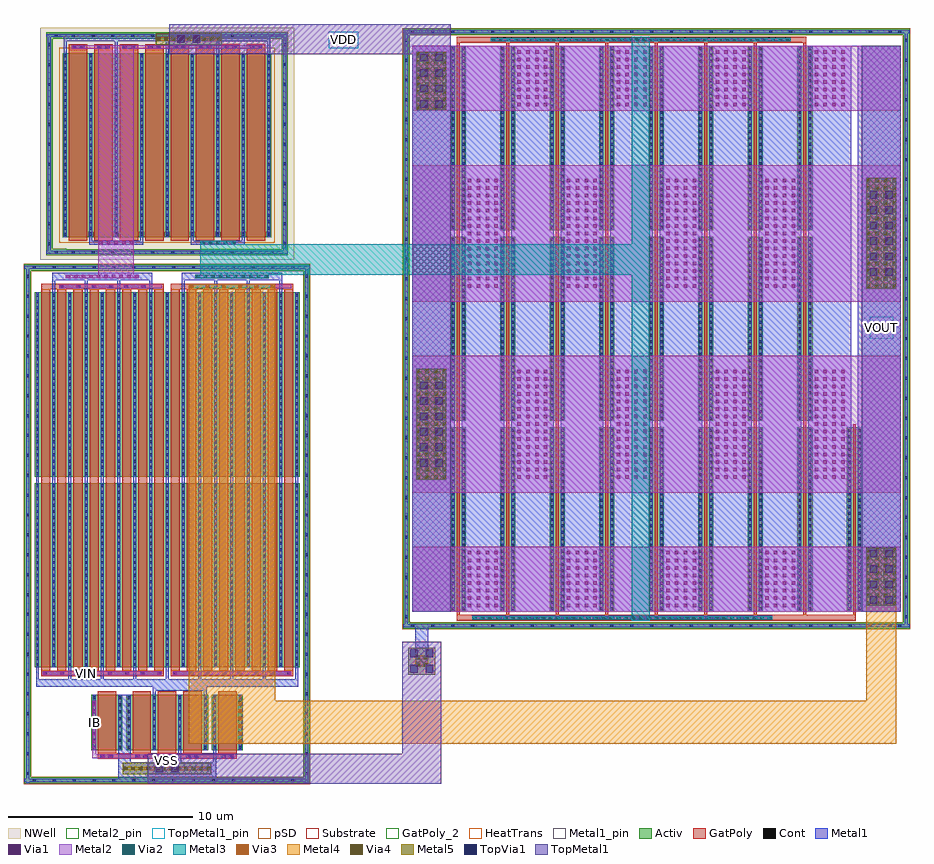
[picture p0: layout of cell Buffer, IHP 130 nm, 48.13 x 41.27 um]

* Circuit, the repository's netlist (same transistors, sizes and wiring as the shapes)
* Extracted by KLayout with SG13G2 LVS runset on : 23/03/2026 13:43

.SUBCKT Buffer VSS IB VIN VDD VOUT
M$1 IB IB VSS VSS sg13_lv_nmos L=1u W=3u AS=1.02p AD=1.02p PS=6.68u PD=6.68u
M$2 VSS IB \$3 VSS sg13_lv_nmos L=1u W=9u AS=2.16p AD=2.16p PS=13.44u PD=13.44u
M$5 VSS IB VOUT VSS sg13_lv_nmos L=1u W=3u AS=1.02p AD=1.02p PS=6.68u PD=6.68u
M$6 \$3 VIN \$10 VSS sg13_lv_nmos L=0.5u W=160u AS=33.4p AD=30.4p PS=186.68u
+ PD=166.08u
M$14 \$3 VOUT \$11 VSS sg13_lv_nmos L=0.5u W=160u AS=30.4p AD=33.4p PS=166.08u
+ PD=186.68u
M$38 VDD \$11 VOUT VSS sg13_lv_nmos L=0.15u W=250u AS=85p AD=85p PS=517u PD=517u
M$63 VDD \$10 \$10 VDD sg13_lv_pmos L=1u W=40u AS=9.1p AD=7.6p PS=51.82u
+ PD=41.52u
M$67 VDD \$10 \$11 VDD sg13_lv_pmos L=1u W=40u AS=7.6p AD=9.1p PS=41.52u
+ PD=51.82u
.ENDS Buffer

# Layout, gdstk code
from math import pi, radians
import gdstk
lib = gdstk.Library(unit=1e-6, precision=1e-09)
def R(c, l, rs):  # rectangles x0, y0, x1, y1
    for r in rs: c.add(gdstk.rectangle(r[:2], r[2:], *l))
def A(c, l, x, y, w, h, nx, ny, dx, dy):  # array of equal rectangles
    R(c, l, [(x+i*dx, y+j*dy, x+i*dx+w, y+j*dy+h) for i in range(nx) for j in range(ny)])
Activ = (1, 0)
GatPoly = (5, 0)
GatPoly_2 = (5, 2)
Cont = (6, 0)
Metal1 = (8, 0)
Metal1_pin = (8, 2)
Metal2 = (10, 0)
Metal2_pin = (10, 2)
pSD = (14, 0)
Via1 = (19, 0)
Via2 = (29, 0)
Metal3 = (30, 0)
NWell = (31, 0)
Substrate = (40, 0)
Via3 = (49, 0)
Metal4 = (50, 0)
HeatTrans = (51, 0)
Via4 = (66, 0)
Metal5 = (67, 0)
TopVia1 = (125, 0)
TopMetal1 = (126, 0)
TopMetal1_pin = (126, 2)

nmos_13 = lib.new_cell('nmos$13')
R(nmos_13, Activ, [(0,0,0.3,0.3), (0,0,0.83,10), (0.53,0,0.83,0.3)])
R(nmos_13, GatPoly, [(0.34,-0.18,0.49,10.18)])
R(nmos_13, GatPoly_2, [(0.34,-0.18,0.49,10.18)])
A(nmos_13, Cont, 0.07, 0.07, 0.16, 0.16, 1, 4, 0, 0.345)
A(nmos_13, Cont, 0.6, 0.07, 0.16, 0.16, 1, 4, 0, 0.345)
A(nmos_13, Cont, 0.07, 1.455, 0.16, 0.16, 1, 3, 0, 0.345)
A(nmos_13, Cont, 0.6, 1.455, 0.16, 0.16, 1, 3, 0, 0.345)
A(nmos_13, Cont, 0.07, 2.495, 0.16, 0.16, 1, 4, 0, 0.345)
A(nmos_13, Cont, 0.6, 2.495, 0.16, 0.16, 1, 4, 0, 0.345)
A(nmos_13, Cont, 0.07, 3.88, 0.16, 0.16, 1, 3, 0, 0.345)
A(nmos_13, Cont, 0.6, 3.88, 0.16, 0.16, 1, 3, 0, 0.345)
A(nmos_13, Cont, 0.07, 4.92, 0.16, 0.16, 1, 4, 0, 0.345)
A(nmos_13, Cont, 0.6, 4.92, 0.16, 0.16, 1, 4, 0, 0.345)
A(nmos_13, Cont, 0.07, 6.305, 0.16, 0.16, 1, 3, 0, 0.345)
A(nmos_13, Cont, 0.6, 6.305, 0.16, 0.16, 1, 3, 0, 0.345)
A(nmos_13, Cont, 0.07, 7.345, 0.16, 0.16, 1, 4, 0, 0.345)
A(nmos_13, Cont, 0.6, 7.345, 0.16, 0.16, 1, 4, 0, 0.345)
A(nmos_13, Cont, 0.07, 8.73, 0.16, 0.16, 1, 3, 0, 0.345)
A(nmos_13, Cont, 0.6, 8.73, 0.16, 0.16, 1, 3, 0, 0.345)
R(nmos_13, Cont, [(0.07,9.77,0.23,9.93), (0.6,9.77,0.76,9.93)])
R(nmos_13, Metal1, [(0.07,0,0.23,10), (0.6,0,0.76,10)])
R(nmos_13, Metal1_pin, [(0.07,0,0.23,10), (0.6,0,0.76,10)])
R(nmos_13, HeatTrans, [(0.34,-0.18,0.49,10.18)])
nmos_13.add(gdstk.Label('nmos', (0.415,5), layer=63, texttype=0))
nmos_13.add(gdstk.Label('nmos', (0.415,5), layer=51, texttype=0))

metal1sf = lib.new_cell('metal1SF')

via_stack_49 = lib.new_cell('via_stack$49')
R(via_stack_49, Metal1, [(-0.825,-1.58,0.825,1.58)])
R(via_stack_49, Metal2, [(-0.82,-1.58,0.82,1.58)])
A(via_stack_49, Via1, -0.815, -1.53, 0.19, 0.19, 4, 8, 0.48, 0.41)
A(via_stack_49, Via2, -0.815, -1.53, 0.19, 0.19, 4, 8, 0.48, 0.41)
R(via_stack_49, Metal3, [(-0.82,-1.58,0.82,1.58)])
A(via_stack_49, Via3, -0.815, -1.53, 0.19, 0.19, 4, 8, 0.48, 0.41)
R(via_stack_49, Metal4, [(-0.82,-1.58,0.82,1.58)])
A(via_stack_49, Via4, -0.815, -1.53, 0.19, 0.19, 4, 8, 0.48, 0.41)
R(via_stack_49, Metal5, [(-0.82,-1.58,0.82,1.58)])
A(via_stack_49, TopVia1, -0.63, -1.47, 0.42, 0.42, 1, 4, 0, 0.84)
A(via_stack_49, TopVia1, 0.21, -1.47, 0.42, 0.42, 1, 4, 0, 0.84)
R(via_stack_49, TopMetal1, [(-1.05,-1.89,1.05,1.89)])

via_stack_50 = lib.new_cell('via_stack$50')
R(via_stack_50, Metal1, [(-0.825,-3.015,0.825,3.015)])
R(via_stack_50, Metal2, [(-0.82,-3.015,0.82,3.015)])
A(via_stack_50, Via1, -0.815, -2.965, 0.19, 0.19, 4, 15, 0.48, 0.41)
A(via_stack_50, Via2, -0.815, -2.965, 0.19, 0.19, 4, 15, 0.48, 0.41)
R(via_stack_50, Metal3, [(-0.82,-3.015,0.82,3.015)])
A(via_stack_50, Via3, -0.815, -2.965, 0.19, 0.19, 4, 15, 0.48, 0.41)
R(via_stack_50, Metal4, [(-0.82,-3.015,0.82,3.015)])
A(via_stack_50, Via4, -0.815, -2.965, 0.19, 0.19, 4, 15, 0.48, 0.41)
R(via_stack_50, Metal5, [(-0.82,-3.015,0.82,3.015)])
A(via_stack_50, TopVia1, -0.63, -2.31, 0.42, 0.42, 1, 6, 0, 0.84)
A(via_stack_50, TopVia1, 0.21, -2.31, 0.42, 0.42, 1, 6, 0, 0.84)
R(via_stack_50, TopMetal1, [(-1.05,-2.73,1.05,2.73)])

via_stack_44 = lib.new_cell('via_stack$44')
R(via_stack_44, Metal1, [(-0.825,-3.015,0.825,3.015)])
R(via_stack_44, Metal2, [(-0.82,-3.015,0.82,3.015)])
A(via_stack_44, Via1, -0.815, -2.965, 0.19, 0.19, 4, 15, 0.48, 0.41)

via_stack_45 = lib.new_cell('via_stack$45')
R(via_stack_45, Metal1, [(-0.825,-1.58,0.825,1.58)])
R(via_stack_45, Metal2, [(-0.82,-1.58,0.82,1.58)])
A(via_stack_45, Via1, -0.815, -1.53, 0.19, 0.19, 4, 8, 0.48, 0.41)

via_stack_46 = lib.new_cell('via_stack$46')
R(via_stack_46, GatPoly, [(-6.78,-0.15,6.78,0.15)])
A(via_stack_46, Cont, -6.71, -0.08, 0.16, 0.16, 40, 1, 0.34, 0)
R(via_stack_46, Metal1, [(-8.14,-0.105,8.14,0.105)])
R(via_stack_46, Metal2, [(-8.14,-0.1,8.14,0.1)])
A(via_stack_46, Via1, -8.09, -0.095, 0.19, 0.19, 40, 1, 0.41, 0)
A(via_stack_46, Via2, -8.09, -0.095, 0.19, 0.19, 40, 1, 0.41, 0)
R(via_stack_46, Metal3, [(-8.14,-0.1,8.14,0.1)])

gatesf = lib.new_cell('gateSF')
R(gatesf, GatPoly, [(0,0,18.98,0.315)])
gatesf.add(gdstk.Reference(via_stack_46, (9.99,0.165)))

bulk_nmos = lib.new_cell('Bulk_NMOS')
R(bulk_nmos, Activ, [(0.03,0.03,1.11,0.37)])
R(bulk_nmos, Cont, [(0.49,0.12,0.65,0.28)])
R(bulk_nmos, Metal1, [(0.03,0.12,1.11,0.28)])
R(bulk_nmos, Metal1_pin, [(0.03,0.12,1.11,0.28)])
R(bulk_nmos, pSD, [(0,0,1.14,0.4)])

gatecurrentmirror = lib.new_cell('gateCurrentMirror')

nmos_12 = lib.new_cell('nmos$12')
R(nmos_12, Activ, [(0,0,0.3,0.3), (0,0,1.18,10), (0.88,0,1.18,0.3)])
R(nmos_12, GatPoly, [(0.34,-0.18,0.84,10.18)])
R(nmos_12, GatPoly_2, [(0.34,-0.18,0.84,10.18)])
A(nmos_12, Cont, 0.07, 0.07, 0.16, 0.16, 1, 4, 0, 0.345)
A(nmos_12, Cont, 0.95, 0.07, 0.16, 0.16, 1, 4, 0, 0.345)
A(nmos_12, Cont, 0.07, 1.455, 0.16, 0.16, 1, 3, 0, 0.345)
A(nmos_12, Cont, 0.95, 1.455, 0.16, 0.16, 1, 3, 0, 0.345)
A(nmos_12, Cont, 0.07, 2.495, 0.16, 0.16, 1, 4, 0, 0.345)
A(nmos_12, Cont, 0.95, 2.495, 0.16, 0.16, 1, 4, 0, 0.345)
A(nmos_12, Cont, 0.07, 3.88, 0.16, 0.16, 1, 3, 0, 0.345)
A(nmos_12, Cont, 0.95, 3.88, 0.16, 0.16, 1, 3, 0, 0.345)
A(nmos_12, Cont, 0.07, 4.92, 0.16, 0.16, 1, 4, 0, 0.345)
A(nmos_12, Cont, 0.95, 4.92, 0.16, 0.16, 1, 4, 0, 0.345)
A(nmos_12, Cont, 0.07, 6.305, 0.16, 0.16, 1, 3, 0, 0.345)
A(nmos_12, Cont, 0.95, 6.305, 0.16, 0.16, 1, 3, 0, 0.345)
A(nmos_12, Cont, 0.07, 7.345, 0.16, 0.16, 1, 4, 0, 0.345)
A(nmos_12, Cont, 0.95, 7.345, 0.16, 0.16, 1, 4, 0, 0.345)
A(nmos_12, Cont, 0.07, 8.73, 0.16, 0.16, 1, 3, 0, 0.345)
A(nmos_12, Cont, 0.95, 8.73, 0.16, 0.16, 1, 3, 0, 0.345)
R(nmos_12, Cont, [(0.07,9.77,0.23,9.93), (0.95,9.77,1.11,9.93)])
R(nmos_12, Metal1, [(0.07,0,0.23,10), (0.95,0,1.11,10)])
R(nmos_12, Metal1_pin, [(0.07,0,0.23,10), (0.95,0,1.11,10)])
R(nmos_12, HeatTrans, [(0.34,-0.18,0.84,10.18)])
nmos_12.add(gdstk.Label('nmos', (0.59,5), layer=63, texttype=0))
nmos_12.add(gdstk.Label('nmos', (0.59,5), layer=51, texttype=0))

metal1boxsourcedrainm1m2 = lib.new_cell('metal1BoxSourceDrainM1M2')
R(metal1boxsourcedrainm1m2, Metal1, [(0.88,0,1.04,0.655)])

metal1boxm1m2 = lib.new_cell('metal1BoxM1M2')
R(metal1boxm1m2, Metal1, [(0,0,0.16,0.36)])

metal1gatem1m2buffer = lib.new_cell('metal1gateM1M2Buffer')
R(metal1gatem1m2buffer, Metal1, [(0,0,1.17,0.21)])

via_stack_48 = lib.new_cell('via_stack$48')
R(via_stack_48, GatPoly, [(-0.15,-0.15,0.15,0.15)])
R(via_stack_48, Cont, [(-0.08,-0.08,0.08,0.08)])
R(via_stack_48, Metal1, [(-0.145,-0.105,0.145,0.105)])
R(via_stack_48, Metal2, [(-0.145,-0.1,0.145,0.1)])
R(via_stack_48, Via1, [(-0.095,-0.095,0.095,0.095)])

gatem1m2buffer = lib.new_cell('gateM1M2Buffer')
R(gatem1m2buffer, GatPoly, [(0,0,6.66,0.3)])
R(gatem1m2buffer, Metal2, [(0.105,0.045,6.555,0.255)])
r = gdstk.Reference(metal1gatem1m2buffer, (0.105,0.045)); r.repetition = gdstk.Repetition(4, 1, v1=(1.76,0), v2=(0,0)); gatem1m2buffer.add(r)
r = gdstk.Reference(via_stack_48, (0.25,0.15)); r.repetition = gdstk.Repetition(8, 1, v1=(0.88,0), v2=(0,0)); gatem1m2buffer.add(r)

metal1boxgatem1m2buffer = lib.new_cell('metal1boxGateM1M2Buffer')

gatem1m2buffer_1_1 = lib.new_cell('gateM1M2Buffer$1$1')
R(gatem1m2buffer_1_1, GatPoly, [(0,0,6.66,0.3)])
R(gatem1m2buffer_1_1, Metal2, [(0.985,0.045,6.555,0.255)])
r = gdstk.Reference(metal1gatem1m2buffer, (0.985,0.045)); r.repetition = gdstk.Repetition(3, 1, v1=(1.76,0), v2=(0,0)); gatem1m2buffer_1_1.add(r)
r = gdstk.Reference(via_stack_48, (1.13,0.15)); r.repetition = gdstk.Repetition(6, 1, v1=(0.88,0), v2=(0,0)); gatem1m2buffer_1_1.add(r)

nmos_8 = lib.new_cell('nmos$8')
R(nmos_8, Activ, [(0,0,0.3,0.3), (0,0,1.68,3), (1.38,0,1.68,0.3)])
R(nmos_8, GatPoly, [(0.34,-0.18,1.34,3.18)])
R(nmos_8, GatPoly_2, [(0.34,-0.18,1.34,3.18)])
A(nmos_8, Cont, 0.07, 0.07, 0.16, 0.16, 1, 7, 0, 0.385)
A(nmos_8, Cont, 1.45, 0.07, 0.16, 0.16, 1, 7, 0, 0.385)
R(nmos_8, Cont, [(0.07,2.77,0.23,2.93), (1.45,2.77,1.61,2.93)])
R(nmos_8, Metal1, [(0.07,0,0.23,3), (1.45,0,1.61,3)])
R(nmos_8, Metal1_pin, [(0.07,0,0.23,3), (1.45,0,1.61,3)])
R(nmos_8, HeatTrans, [(0.34,-0.18,1.34,3.18)])
nmos_8.add(gdstk.Label('nmos', (0.84,1.5), layer=63, texttype=0))
nmos_8.add(gdstk.Label('nmos', (0.84,1.5), layer=51, texttype=0))

via_stack_62 = lib.new_cell('via_stack$62')
R(via_stack_62, GatPoly, [(-0.15,-0.15,0.15,0.15)])
R(via_stack_62, Cont, [(-0.08,-0.08,0.08,0.08)])
R(via_stack_62, Metal1, [(-0.145,-0.105,0.145,0.105)])
R(via_stack_62, Metal2, [(-0.145,-0.1,0.145,0.1)])
R(via_stack_62, Via1, [(-0.095,-0.095,0.095,0.095)])
R(via_stack_62, Via2, [(-0.095,-0.095,0.095,0.095)])
R(via_stack_62, Metal3, [(-0.145,-0.1,0.145,0.1)])
R(via_stack_62, Via3, [(-0.095,-0.095,0.095,0.095)])
R(via_stack_62, Metal4, [(-0.145,-0.1,0.145,0.1)])

gatem1m2buffer_1 = lib.new_cell('gateM1M2Buffer$1')
R(gatem1m2buffer_1, GatPoly, [(0,0,6.66,0.3)])
R(gatem1m2buffer_1, Metal2, [(0.985,0.045,6.555,0.255)])
r = gdstk.Reference(metal1gatem1m2buffer, (0.985,0.045)); r.repetition = gdstk.Repetition(3, 1, v1=(1.76,0), v2=(0,0)); gatem1m2buffer_1.add(r)
r = gdstk.Reference(via_stack_62, (1.13,0.15)); r.repetition = gdstk.Repetition(6, 1, v1=(0.88,0), v2=(0,0)); gatem1m2buffer_1.add(r)

bulk_nmos_1 = lib.new_cell('Bulk_NMOS$1')
R(bulk_nmos_1, Activ, [(0.03,0.03,1.11,0.37)])
R(bulk_nmos_1, Metal1, [(0.03,0.12,1.11,0.28)])
R(bulk_nmos_1, Metal1_pin, [(0.03,0.12,1.11,0.28)])
R(bulk_nmos_1, pSD, [(0,0,1.14,0.4)])

via_stack_59 = lib.new_cell('via_stack$59')
R(via_stack_59, Metal1, [(-0.965,-0.105,0.965,0.105)])
R(via_stack_59, Metal2, [(-0.965,-0.1,0.965,0.1)])
A(via_stack_59, Via1, -0.915, -0.095, 0.19, 0.19, 5, 1, 0.41, 0)
A(via_stack_59, Via2, -0.915, -0.095, 0.19, 0.19, 5, 1, 0.41, 0)
R(via_stack_59, Metal3, [(-0.965,-0.1,0.965,0.1)])

pmos_7 = lib.new_cell('pmos$7')
R(pmos_7, Activ, [(0,0,0.3,0.3), (0,0,1.68,10), (1.38,0,1.68,0.3)])
R(pmos_7, GatPoly, [(0.34,-0.18,1.34,10.18), (0.34,-0.18,1.34,10.18)])
A(pmos_7, Cont, 0.07, 0.07, 0.16, 0.16, 1, 4, 0, 0.345)
A(pmos_7, Cont, 1.45, 0.07, 0.16, 0.16, 1, 4, 0, 0.345)
A(pmos_7, Cont, 0.07, 1.455, 0.16, 0.16, 1, 3, 0, 0.345)
A(pmos_7, Cont, 1.45, 1.455, 0.16, 0.16, 1, 3, 0, 0.345)
A(pmos_7, Cont, 0.07, 2.495, 0.16, 0.16, 1, 4, 0, 0.345)
A(pmos_7, Cont, 1.45, 2.495, 0.16, 0.16, 1, 4, 0, 0.345)
A(pmos_7, Cont, 0.07, 3.88, 0.16, 0.16, 1, 3, 0, 0.345)
A(pmos_7, Cont, 1.45, 3.88, 0.16, 0.16, 1, 3, 0, 0.345)
A(pmos_7, Cont, 0.07, 4.92, 0.16, 0.16, 1, 4, 0, 0.345)
A(pmos_7, Cont, 1.45, 4.92, 0.16, 0.16, 1, 4, 0, 0.345)
A(pmos_7, Cont, 0.07, 6.305, 0.16, 0.16, 1, 3, 0, 0.345)
A(pmos_7, Cont, 1.45, 6.305, 0.16, 0.16, 1, 3, 0, 0.345)
A(pmos_7, Cont, 0.07, 7.345, 0.16, 0.16, 1, 4, 0, 0.345)
A(pmos_7, Cont, 1.45, 7.345, 0.16, 0.16, 1, 4, 0, 0.345)
A(pmos_7, Cont, 0.07, 8.73, 0.16, 0.16, 1, 3, 0, 0.345)
A(pmos_7, Cont, 1.45, 8.73, 0.16, 0.16, 1, 3, 0, 0.345)
R(pmos_7, Cont, [(0.07,9.77,0.23,9.93), (1.45,9.77,1.61,9.93)])
R(pmos_7, Metal1, [(0.07,0,0.23,10), (0.07,0,0.23,10), (1.45,0,1.61,10), (1.45,0,1.61,10)])
R(pmos_7, pSD, [(-0.18,-0.3,1.86,10.3)])
R(pmos_7, NWell, [(-0.31,-0.31,1.99,10.31)])
R(pmos_7, Substrate, [(1.38,0,1.68,0.3)])
R(pmos_7, HeatTrans, [(0.34,-0.18,1.34,10.18)])
pmos_7.add(gdstk.Label('pmos', (0.84,5), layer=63, texttype=0))
pmos_7.add(gdstk.Label('pmos', (0.84,5), layer=51, texttype=0))

via_stack_55 = lib.new_cell('via_stack$55')
R(via_stack_55, Metal1, [(-0.965,-0.105,0.965,0.105)])
R(via_stack_55, Metal2, [(-0.965,-0.1,0.965,0.1)])
A(via_stack_55, Via1, -0.915, -0.095, 0.19, 0.19, 5, 1, 0.41, 0)

bulk_pmos_1 = lib.new_cell('Bulk_PMOS$1')
R(bulk_pmos_1, Activ, [(0.34,0.24,1.42,0.58)])
R(bulk_pmos_1, Metal1, [(0.34,0.33,1.42,0.49)])
R(bulk_pmos_1, Metal1_pin, [(0.34,0.33,1.42,0.49)])
R(bulk_pmos_1, NWell, [(0,0,1.76,0.82)])

bulk_pmos = lib.new_cell('Bulk_PMOS')
R(bulk_pmos, Activ, [(0.34,0.24,1.42,0.58)])
R(bulk_pmos, Cont, [(0.8,0.33,0.96,0.49)])
R(bulk_pmos, Metal1, [(0.34,0.33,1.42,0.49)])
R(bulk_pmos, Metal1_pin, [(0.34,0.33,1.42,0.49)])
R(bulk_pmos, NWell, [(0,0,1.76,0.82)])

via_stack_52 = lib.new_cell('via_stack$52')
R(via_stack_52, GatPoly, [(-0.32,-0.15,0.32,0.15)])
R(via_stack_52, Cont, [(-0.25,-0.08,-0.09,0.08), (0.09,-0.08,0.25,0.08)])
R(via_stack_52, Metal1, [(-0.35,-0.105,0.35,0.105)])
R(via_stack_52, Metal2, [(-0.35,-0.1,0.35,0.1)])
R(via_stack_52, Via1, [(-0.3,-0.095,-0.11,0.095), (0.11,-0.095,0.3,0.095)])

gatepmosbuffer = lib.new_cell('gatePmosBuffer')
R(gatepmosbuffer, GatPoly, [(0,0,1,0.3)])
gatepmosbuffer.add(gdstk.Reference(via_stack_52, (0.5,0.15)))

via_stack_54 = lib.new_cell('via_stack$54')
R(via_stack_54, Metal1, [(-1.99,-0.105,1.99,0.105)])
R(via_stack_54, Metal2, [(-1.99,-0.1,1.99,0.1)])
A(via_stack_54, Via1, -1.94, -0.095, 0.19, 0.19, 10, 1, 0.41, 0)

via_stack_60 = lib.new_cell('via_stack$60')
R(via_stack_60, Metal1, [(-1.99,-0.105,1.99,0.105)])
R(via_stack_60, Metal2, [(-1.99,-0.1,1.99,0.1)])
A(via_stack_60, Via1, -1.94, -0.095, 0.19, 0.19, 10, 1, 0.41, 0)
A(via_stack_60, Via2, -1.94, -0.095, 0.19, 0.19, 10, 1, 0.41, 0)
R(via_stack_60, Metal3, [(-1.99,-0.1,1.99,0.1)])

via_stack_56 = lib.new_cell('via_stack$56')
R(via_stack_56, Metal1, [(-1.785,-0.105,1.785,0.105)])
R(via_stack_56, Metal2, [(-1.785,-0.1,1.785,0.1)])
A(via_stack_56, Via1, -1.735, -0.095, 0.19, 0.19, 9, 1, 0.41, 0)
A(via_stack_56, Via2, -1.735, -0.095, 0.19, 0.19, 9, 1, 0.41, 0)
R(via_stack_56, Metal3, [(-1.785,-0.1,1.785,0.1)])
A(via_stack_56, Via3, -1.735, -0.095, 0.19, 0.19, 9, 1, 0.41, 0)
R(via_stack_56, Metal4, [(-1.785,-0.1,1.785,0.1)])
A(via_stack_56, Via4, -1.735, -0.095, 0.19, 0.19, 9, 1, 0.41, 0)
R(via_stack_56, Metal5, [(-1.785,-0.31,1.785,0.31)])
R(via_stack_56, TopVia1, [(-0.63,-0.21,-0.21,0.21), (0.21,-0.21,0.63,0.21)])
R(via_stack_56, TopMetal1, [(-1.05,-0.82,1.05,0.82)])

via_stack_58 = lib.new_cell('via_stack$58')
R(via_stack_58, Metal1, [(-2.4,-0.105,2.4,0.105)])
R(via_stack_58, Metal2, [(-2.4,-0.1,2.4,0.1)])
A(via_stack_58, Via1, -2.35, -0.095, 0.19, 0.19, 12, 1, 0.41, 0)
A(via_stack_58, Via2, -2.35, -0.095, 0.19, 0.19, 12, 1, 0.41, 0)
R(via_stack_58, Metal3, [(-2.4,-0.1,2.4,0.1)])
A(via_stack_58, Via3, -2.35, -0.095, 0.19, 0.19, 12, 1, 0.41, 0)
R(via_stack_58, Metal4, [(-2.4,-0.1,2.4,0.1)])
A(via_stack_58, Via4, -2.35, -0.095, 0.19, 0.19, 12, 1, 0.41, 0)
R(via_stack_58, Metal5, [(-2.4,-0.31,2.4,0.31)])
R(via_stack_58, TopVia1, [(-0.63,-0.21,-0.21,0.21), (0.21,-0.21,0.63,0.21)])
R(via_stack_58, TopMetal1, [(-1.05,-0.82,1.05,0.82)])

via_stack_63 = lib.new_cell('via_stack$63')
R(via_stack_63, Metal1, [(-0.105,-1.17,0.105,1.17)])
R(via_stack_63, Metal2, [(-0.1,-1.17,0.1,1.17)])
A(via_stack_63, Via1, -0.095, -1.12, 0.19, 0.19, 1, 6, 0, 0.41)

via_stack_61 = lib.new_cell('via_stack$61')
R(via_stack_61, Metal1, [(-0.105,-1.17,0.105,1.17)])
R(via_stack_61, Metal2, [(-0.1,-1.17,0.1,1.17)])
A(via_stack_61, Via1, -0.095, -1.12, 0.19, 0.19, 1, 6, 0, 0.41)
A(via_stack_61, Via2, -0.095, -1.12, 0.19, 0.19, 1, 6, 0, 0.41)
R(via_stack_61, Metal3, [(-0.1,-1.17,0.1,1.17)])
A(via_stack_61, Via3, -0.095, -1.12, 0.19, 0.19, 1, 6, 0, 0.41)
R(via_stack_61, Metal4, [(-0.1,-1.17,0.1,1.17)])

via_stack_65 = lib.new_cell('via_stack$65')
R(via_stack_65, Metal1, [(-0.35,-0.31,0.35,0.31)])
R(via_stack_65, Metal2, [(-0.35,-0.305,0.35,0.305)])
R(via_stack_65, Via1, [(-0.3,-0.3,-0.11,-0.11), (0.11,-0.3,0.3,-0.11), (-0.3,0.11,-0.11,0.3), (0.11,0.11,0.3,0.3)])
R(via_stack_65, Via2, [(-0.3,-0.3,-0.11,-0.11), (0.11,-0.3,0.3,-0.11), (-0.3,0.11,-0.11,0.3), (0.11,0.11,0.3,0.3)])
R(via_stack_65, Metal3, [(-0.35,-0.305,0.35,0.305)])
R(via_stack_65, Via3, [(-0.3,-0.3,-0.11,-0.11), (0.11,-0.3,0.3,-0.11), (-0.3,0.11,-0.11,0.3), (0.11,0.11,0.3,0.3)])
R(via_stack_65, Metal4, [(-0.35,-0.305,0.35,0.305)])
R(via_stack_65, Via4, [(-0.3,-0.3,-0.11,-0.11), (0.11,-0.3,0.3,-0.11), (-0.3,0.11,-0.11,0.3), (0.11,0.11,0.3,0.3)])
R(via_stack_65, Metal5, [(-0.73,-0.73,0.73,0.73)])
R(via_stack_65, TopVia1, [(-0.63,-0.63,-0.21,-0.21), (0.21,-0.63,0.63,-0.21), (-0.63,0.21,-0.21,0.63), (0.21,0.21,0.63,0.63)])
R(via_stack_65, TopMetal1, [(-1.05,-1.05,1.05,1.05)])

buffer = lib.new_cell('Buffer')
R(buffer, Activ, [(-0.51,-6.055,-0.47,-5.715)])
R(buffer, GatPoly, [(-11.65,-4.72,-4.105,-4.42), (26.83,2.785,29.52,3.1)])
A(buffer, Metal1, 5.42, 3.28, 2.32, 30.72, 10, 1, 2.69, 0)
A(buffer, Metal1, -12.105, 23.43, 0.16, 0.18, 4, 1, 2.76, 0)
R(buffer, Metal1, [(-0.51,-5.965,-0.22,-5.805), (-10.54,-5.805,-5.215,-5.585), (-10.54,-5.585,-5.215,-4.915), (-10.54,-4.915,-9.87,-1.24), (-7.27,-4.915,-7.11,-4.24), (-5.375,-4.915,-5.215,-4.24), (-8.65,-1.24,-8.49,-1.02), (-5.89,-1.24,-5.73,-1.02), (-8.65,-1.02,-5.73,-0.8), (-15,-0.8,-0.76,-0.4), (5.6,0.28,6.3,2.59), (-14.12,21.27,-8.68,21.67), (-7.08,21.27,-1.64,21.67), (-12.105,23.21,-9.185,23.43), (-6.585,23.21,-3.665,23.43), (-13.485,34.265,-2.285,34.485)])
R(buffer, Metal2, [(-11.94,-4.675,-11.74,-3.91), (-11.74,-4.675,-4.255,-4.465), (5.42,3.28,31.95,6.8), (5.42,9.74,31.95,17.16), (5.42,20.1,31.95,27.52), (-11.61,21.57,-9.68,23.22), (-11.61,23.42,-9.68,34.045), (5.42,30.48,31.95,34), (-13.065,33.835,-2.705,34.045)])
R(buffer, Metal2_pin, [(-11.94,-2.815,-11.74,-2.67), (-12.35,-0.155,-12.155,0.005)])
R(buffer, Metal3, [(17.34,2.785,18.34,34.495), (-6.705,20.845,-2.015,21.045), (-6.09,21.57,17.34,23.22)])
R(buffer, NWell, [(-14.785,22.39,-0.98,34.975)])
R(buffer, Metal4, [(-6.705,-3.91,-4.015,-1.57), (-3.815,-3.91,31.72,-1.57), (-6.705,-1.57,-2.015,20.845), (30.08,-1.57,31.72,3.59), (-6.705,20.845,-2.015,21.045)])
R(buffer, TopMetal1, [(-6.83,-6.07,7,-4.43), (4.9,-4.43,7,0.21), (5.42,3.28,7.52,34), (29.85,3.28,31.95,34), (-5.655,33.55,7.52,35.19)])
R(buffer, TopMetal1_pin, [(-8.135,-4.94,-7.675,-4.61), (30.27,18.085,31.555,19.295), (0.91,33.885,2.495,34.77)])
r = gdstk.Reference(nmos_13, (7.51,3.28)); r.repetition = gdstk.Repetition(8, 3, v1=(2.69,0), v2=(0,10.36)); buffer.add(r)
buffer.add(gdstk.Reference(nmos_13, (29.03,3.28)))
r = gdstk.Reference(metal1sf, (19.745,3.12)); r.repetition = gdstk.Repetition(10, 1, v1=(2.69,0), v2=(0,0)); buffer.add(r)
buffer.add(gdstk.Reference(via_stack_49, (6.47,32.11)))
buffer.add(gdstk.Reference(via_stack_50, (30.9,23.82)))
buffer.add(gdstk.Reference(via_stack_50, (6.47,13.46)))
buffer.add(gdstk.Reference(via_stack_49, (30.9,5.17)))
r = gdstk.Reference(via_stack_44, (11.96,13.46)); r.repetition = gdstk.Repetition(4, 1, v1=(5.38,0), v2=(0,0)); buffer.add(r)
r = gdstk.Reference(via_stack_44, (9.27,23.82)); r.repetition = gdstk.Repetition(4, 1, v1=(5.38,0), v2=(0,0)); buffer.add(r)
r = gdstk.Reference(via_stack_45, (11.96,32.24)); r.repetition = gdstk.Repetition(4, 1, v1=(5.38,0), v2=(0,0)); buffer.add(r)
r = gdstk.Reference(via_stack_45, (9.27,5.04)); r.repetition = gdstk.Repetition(4, 1, v1=(5.38,0), v2=(0,0)); buffer.add(r)
buffer.add(gdstk.Reference(gatesf, (26.83,3.1), rotation=pi))
buffer.add(gdstk.Reference(gatesf, (7.85,34.18)))
r = gdstk.Reference(bulk_nmos, (4.9,34.57)); r.repetition = gdstk.Repetition(25, 1, v1=(1.08,0), v2=(0,0)); buffer.add(r)
r = gdstk.Reference(bulk_nmos, (4.9,2.31)); r.repetition = gdstk.Repetition(25, 1, v1=(1.08,0), v2=(0,0)); buffer.add(r)
r = gdstk.Reference(bulk_nmos, (5.3,2.42), rotation=pi/2); r.repetition = gdstk.Repetition(30, 1, v1=(0,1.08), v2=(0,0)); buffer.add(r)
r = gdstk.Reference(bulk_nmos, (32.47,2.42), rotation=pi/2); r.repetition = gdstk.Repetition(30, 1, v1=(0,1.08), v2=(0,0)); buffer.add(r)
buffer.add(gdstk.Reference(bulk_nmos, (31.33,34.57)))
buffer.add(gdstk.Reference(bulk_nmos, (31.33,2.31)))
buffer.add(gdstk.Reference(gatecurrentmirror, (-6.45,0.575)))
buffer.add(gdstk.Reference(gatecurrentmirror, (-8.34,0.575)))
buffer.add(gdstk.Reference(gatecurrentmirror, (-5.07,0.575)))
buffer.add(gdstk.Reference(gatecurrentmirror, (-3.69,0.575)))
buffer.add(gdstk.Reference(gatecurrentmirror, (-1.795,0.575)))
r = gdstk.Reference(nmos_12, (-15.07,0.255)); r.repetition = gdstk.Repetition(16, 2, v1=(0.88,0), v2=(0,10.36)); buffer.add(r)
r = gdstk.Reference(metal1boxsourcedrainm1m2, (-15,20.615)); r.repetition = gdstk.Repetition(8, 1, v1=(1.76,0), v2=(0,0)); buffer.add(r)
r = gdstk.Reference(metal1boxm1m2, (-15,10.255)); r.repetition = gdstk.Repetition(17, 1, v1=(0.88,0), v2=(0,0)); buffer.add(r)
buffer.add(gdstk.Reference(gatem1m2buffer, (-7.69,-0.225)))
r = gdstk.Reference(metal1boxgatem1m2buffer, (-14.625,-0.18)); r.repetition = gdstk.Repetition(4, 1, v1=(1.76,0), v2=(0,0)); buffer.add(r)
buffer.add(gdstk.Reference(gatem1m2buffer, (-14.73,-0.225)))
buffer.add(gdstk.Reference(gatem1m2buffer_1_1, (-14.73,20.795)))
r = gdstk.Reference(nmos_8, (-11.99,-4.24)); r.repetition = gdstk.Repetition(1, 1, v1=(0,0), v2=(0,0)); buffer.add(r)
r = gdstk.Reference(nmos_8, (-10.1,-4.24)); r.repetition = gdstk.Repetition(3, 1, v1=(1.38,0), v2=(0,0)); buffer.add(r)
r = gdstk.Reference(nmos_8, (-5.445,-4.24)); r.repetition = gdstk.Repetition(1, 1, v1=(0,0), v2=(0,0)); buffer.add(r)
buffer.add(gdstk.Reference(gatem1m2buffer_1, (-7.69,20.795)))
r = gdstk.Reference(metal1boxsourcedrainm1m2, (-15.88,-0.4)); r.repetition = gdstk.Repetition(9, 1, v1=(1.76,0), v2=(0,0)); buffer.add(r)
r = gdstk.Reference(bulk_nmos, (-15.66,21.77)); r.repetition = gdstk.Repetition(14, 1, v1=(1.08,0), v2=(0,0)); buffer.add(r)
r = gdstk.Reference(bulk_nmos, (-15.66,-6.085)); r.repetition = gdstk.Repetition(14, 1, v1=(1.08,0), v2=(0,0)); buffer.add(r)
r = gdstk.Reference(bulk_nmos, (-15.26,-6.085), rotation=pi/2); r.repetition = gdstk.Repetition(26, 1, v1=(0,1.08), v2=(0,0)); buffer.add(r)
r = gdstk.Reference(bulk_nmos, (-0.1,-6.085), rotation=pi/2); r.repetition = gdstk.Repetition(26, 1, v1=(0,1.08), v2=(0,0)); buffer.add(r)
buffer.add(gdstk.Reference(bulk_nmos_1, (-1.24,21.77)))
buffer.add(gdstk.Reference(via_stack_59, (-5.125,23.32)))
r = gdstk.Reference(pmos_7, (-13.555,23.61)); r.repetition = gdstk.Repetition(8, 1, v1=(1.38,0), v2=(0,0)); buffer.add(r)
buffer.add(gdstk.Reference(via_stack_55, (-10.645,23.32)))
buffer.add(gdstk.Reference(bulk_pmos_1, (-2.74,34.155)))
buffer.add(gdstk.Reference(bulk_pmos_1, (-2.74,22.39)))
r = gdstk.Reference(bulk_pmos, (-1.08,22.39), rotation=pi/2); r.repetition = gdstk.Repetition(11, 1, v1=(0,1.08), v2=(0,0)); buffer.add(r)
buffer.add(gdstk.Reference(bulk_pmos, (-14.785,34.155)))
r = gdstk.Reference(bulk_pmos, (-13.865,34.155)); r.repetition = gdstk.Repetition(11, 1, v1=(1.08,0), v2=(0,0)); buffer.add(r)
buffer.add(gdstk.Reference(bulk_pmos, (-14.785,22.395)))
r = gdstk.Reference(bulk_pmos, (-13.865,22.385), rotation=pi/2); r.repetition = gdstk.Repetition(11, 1, v1=(0,1.08), v2=(0,0)); buffer.add(r)
r = gdstk.Reference(bulk_pmos, (-13.865,22.39)); r.repetition = gdstk.Repetition(11, 1, v1=(1.08,0), v2=(0,0)); buffer.add(r)
r = gdstk.Reference(metal1boxsourcedrainm1m2, (-14.365,33.61)); r.repetition = gdstk.Repetition(5, 1, v1=(2.76,0), v2=(0,0)); buffer.add(r)
r = gdstk.Reference(gatepmosbuffer, (-13.215,33.79)); r.repetition = gdstk.Repetition(8, 1, v1=(1.38,0), v2=(0,0)); buffer.add(r)
buffer.add(gdstk.Reference(via_stack_54, (-11.4,21.47)))
buffer.add(gdstk.Reference(via_stack_60, (-4.36,21.47)))
buffer.add(gdstk.Reference(via_stack_56, (-6.705,34.37)))
buffer.add(gdstk.Reference(via_stack_58, (-7.88,-5.25)))
buffer.add(gdstk.Reference(via_stack_63, (-11.84,-2.74)))
buffer.add(gdstk.Reference(via_stack_61, (-3.915,-2.74)))
buffer.add(gdstk.Reference(via_stack_52, (-11.165,-4.57)))
r = gdstk.Reference(via_stack_52, (-9.26,-4.57)); r.repetition = gdstk.Repetition(3, 1, v1=(1.38,0), v2=(0,0)); buffer.add(r)
buffer.add(gdstk.Reference(via_stack_52, (-4.605,-4.57)))
buffer.add(gdstk.Reference(via_stack_65, (5.95,0.59)))
buffer.add(gdstk.Label('IB', (-11.85,-2.755), layer=10, texttype=25))
buffer.add(gdstk.Label('VIN', (-12.28,-0.075), layer=10, texttype=25))
buffer.add(gdstk.Label('VDD', (1.702,34.327), layer=126, texttype=25))
buffer.add(gdstk.Label('VOUT', (30.912,18.69), layer=126, texttype=25))
buffer.add(gdstk.Label('VSS', (-7.94,-4.795), layer=126, texttype=25))

lib.write_gds('Buffer.gds')
